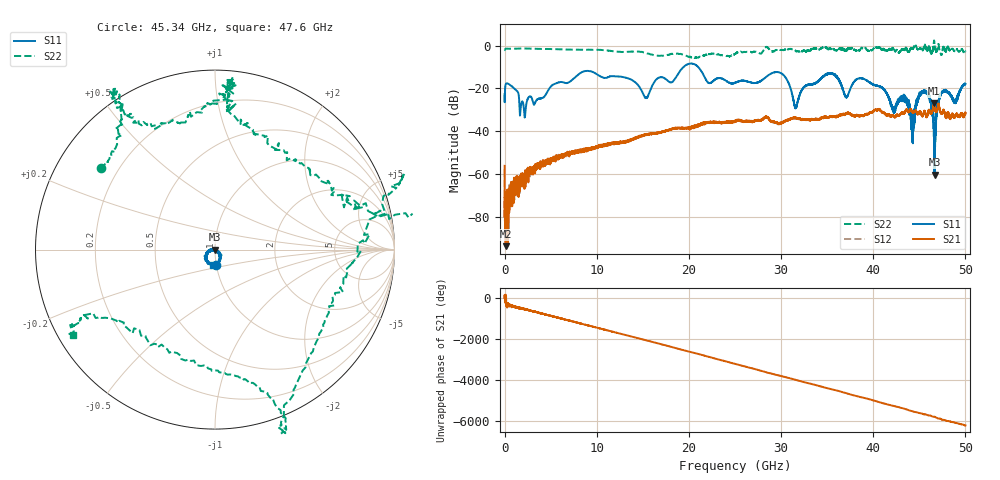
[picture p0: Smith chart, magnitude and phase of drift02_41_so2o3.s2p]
!Created with skrf (http://scikit-rf.org).
# Hz S RI R 50.0
!freq ReS11 ImS11 ReS21 ImS21 ReS12 ImS12 ReS22 ImS22
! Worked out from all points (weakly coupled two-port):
!   10001 points, 300 kHz to 50 GHz, reference 50 ohm
!   highest |S21| = -26.90 dB at 46.6 GHz (marker M1); lowest = -93.7 dB at 120.3 MHz (marker M2)
!   lowest |S11| = -60.3 dB at 46.65 GHz (marker M3), VSWR 1.00, Z = 50.1 + j0.0199 ohm
!   |S11| at or under -10 dB: start of sweep to 19.42 GHz; 21.00379 GHz to 21.00799 GHz (4.2 MHz wide, 0.02 % of centre); 21.01 GHz to end of sweep
!   |S22| runs from -5.7 to 2.4 dB; largest |S21 - S12| = 0.0042
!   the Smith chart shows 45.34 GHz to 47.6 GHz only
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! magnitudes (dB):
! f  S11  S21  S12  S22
! 300 kHz  -22.6  -56.1  -57.9  -2.1
! 120.3 MHz  -18.0  -93.7  -71.6  -1.5
! 2.185 GHz  -33.6  -62.4  -62.2  -1.3
! 8.335 GHz  -12.5  -49.2  -48.7  -1.9
! 15.34 GHz  -24.5  -41.7  -41.4  -3.3
! 16.67 GHz  -15.1  -40.9  -40.7  -4.7
! 20.29 GHz  -8.4  -38.3  -38.2  -5.5
! 25 GHz  -17.3  -35.5  -35.4  -3.9
! 29.85 GHz  -12.6  -36.3  -36.5  -2.0
! 31.59 GHz  -28.9  -33.8  -34.0  -2.4
! 33.34 GHz  -18.0  -34.7  -34.4  -1.6
! 35.6 GHz  -13.2  -33.2  -33.2  -1.6
! 37.1 GHz  -24.2  -31.7  -31.7  -2.1
! 38.75 GHz  -15.3  -32.6  -32.7  -1.0
! 41.67 GHz  -24.5  -32.1  -32.2  -1.8
! 43.47 GHz  -24.2  -30.9  -31.1  -1.6
! 44.25 GHz  -34.4  -31.1  -31.0  -1.4
! 45.69 GHz  -21.8  -32.2  -32.2  -0.5
! 46.6 GHz  -43.9  -26.9  -27.1  2.0
! 46.65 GHz  -60.3  -27.8  -28.0  0.7
! 47.47 GHz  -21.8  -31.3  -31.7  -3.5
! 50 GHz  -18.0  -31.5  -31.4  -2.7
